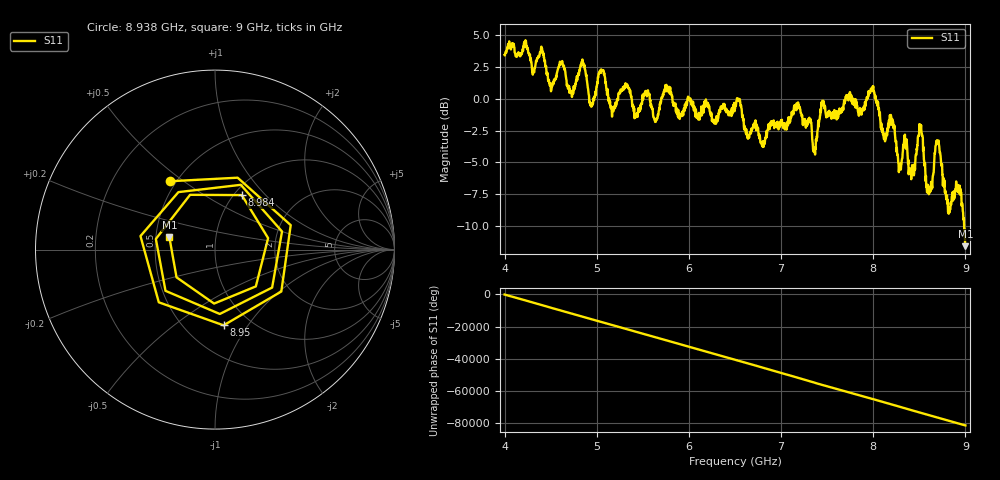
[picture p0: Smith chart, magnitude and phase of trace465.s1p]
! Created with skrf 1.8.0 (http://scikit-rf.org).
# Hz S RI R 50.0
!freq ReS11 ImS11
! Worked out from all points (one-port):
!   1601 points, 4 GHz to 9 GHz, reference 50 ohm
!   lowest |S11| = -11.6 dB at 9 GHz (marker M1), VSWR 1.71, Z = 29.5 + j4.3 ohm
!   |S11| at or under -10 dB: 8.986434 GHz to end of sweep
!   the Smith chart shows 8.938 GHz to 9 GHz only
!   S11 on the Smith chart (normalised r, x): 8.938 GHz: 0.46, +0.45; 8.95 GHz: 0.76, -0.78; 8.984 GHz: 1.09, +0.74; 9 GHz: 0.59, +0.09
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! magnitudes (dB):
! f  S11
! 4 GHz  3.5
! 4.403 GHz  4.0
! 4.506 GHz  0.7
! 4.625 GHz  3.0
! 4.728 GHz  0.6
! 4.85 GHz  2.8
! 4.944 GHz  -0.5
! 5.047 GHz  2.3
! 5.166 GHz  -1.4
! 5.25 GHz  0.5
! 5.875 GHz  -1.0
! 6.5 GHz  -0.8
! 6.8 GHz  -3.3
! 7.125 GHz  -1.1
! 7.366 GHz  -4.1
! 7.453 GHz  -0.3
! 7.75 GHz  0.4
! 7.991 GHz  1.0
! 8.112 GHz  -2.9
! 8.375 GHz  -4.7
! 8.512 GHz  -2.1
! 8.6 GHz  -7.2
! 8.697 GHz  -3.3
! 8.812 GHz  -8.9
! 8.938 GHz  -6.8
! 8.95 GHz  -7.4
! 8.984 GHz  -9.4
! 9 GHz  -11.6
